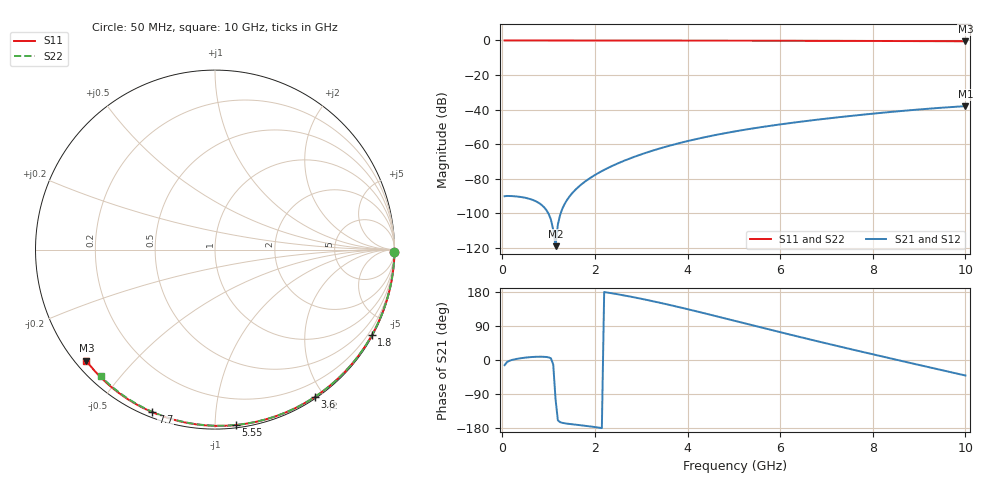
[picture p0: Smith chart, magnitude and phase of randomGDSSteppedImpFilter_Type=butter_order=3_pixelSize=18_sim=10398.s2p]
! freq	dB(S11)	phase(S11)	dB(S12)	phase(S12)
!  dB(S21)	phase(S21)	dB(S22)	phase(S22)
!S-par simulation data
#  GHz  S  DB  R 50
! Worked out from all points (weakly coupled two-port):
!   200 points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, 50 MHz to 10 GHz, reference 50 ohm
!   highest |S21| = -38.02 dB at 10 GHz (marker M1); lowest = -119.1 dB at 1.15 GHz (marker M2)
!   lowest |S11| = -0.5 dB at 10 GHz (marker M3), VSWR 36.76, Z = 1.55 - j18.6 ohm
!   |S11| at or under -10 dB: nowhere
!   |S22| runs from -0.4 to 0.0 dB; largest |S21 - S12| = 0
!   S11 on the Smith chart (normalised r, x): 50 MHz: open; 1.8 GHz: 0.03, -3.92; 3.6 GHz: 0.02, -1.89; 5.55 GHz: 0.02, -1.12; 7.7 GHz: 0.02, -0.69; 10 GHz: 0.03, -0.37
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0.05  -0.00 -0.8  -90.17 -13.6  -90.17 -13.6  -0.00 -0.8
0.6  -0.01 -9.7  -91.77 7.5  -91.77 7.5  -0.01 -9.1
1.15  -0.02 -18.4  -119.06 -103.6  -119.06 -103.6  -0.02 -17.4
1.75  -0.04 -27.8  -82.42 -173.0  -82.42 -173.0  -0.03 -26.3
1.8  -0.04 -28.6  -81.41 -173.8  -81.41 -173.8  -0.03 -27.1
1.85  -0.04 -29.4  -80.46 -174.5  -80.46 -174.5  -0.04 -27.8
1.9  -0.04 -30.2  -79.56 -175.3  -79.56 -175.3  -0.04 -28.5
2.05  -0.04 -32.5  -77.08 -177.8  -77.08 -177.8  -0.04 -30.7
2.25  -0.05 -35.6  -74.20 178.4  -74.20 178.4  -0.04 -33.7
2.65  -0.05 -41.7  -69.40 170.0  -69.40 170.0  -0.05 -39.4
3  -0.06 -47.0  -65.92 161.6  -65.92 161.6  -0.06 -44.5
3.4  -0.07 -52.9  -62.51 151.2  -62.51 151.2  -0.07 -50.1
3.6  -0.08 -55.9  -60.99 145.7  -60.99 145.7  -0.07 -52.9
4.3  -0.09 -66.0  -56.41 125.3  -56.41 125.3  -0.09 -62.5
5.05  -0.12 -76.5  -52.50 102.5  -52.50 102.5  -0.11 -72.5
5.55  -0.14 -83.3  -50.33 87.1  -50.33 87.1  -0.13 -79.0
6.1  -0.16 -90.6  -48.22 70.4  -48.22 70.4  -0.15 -86.0
6.7  -0.19 -98.4  -46.17 52.6  -46.17 52.6  -0.18 -93.4
7.7  -0.26 -111.1  -43.18 23.6  -43.18 23.6  -0.24 -105.5
8.35  -0.31 -119.1  -41.47 5.1  -41.47 5.1  -0.29 -113.1
9.2  -0.38 -129.5  -39.51 -18.7  -39.51 -18.7  -0.36 -122.9
10  -0.47 -139.2  -38.02 -40.9  -38.02 -40.9  -0.44 -132.0
